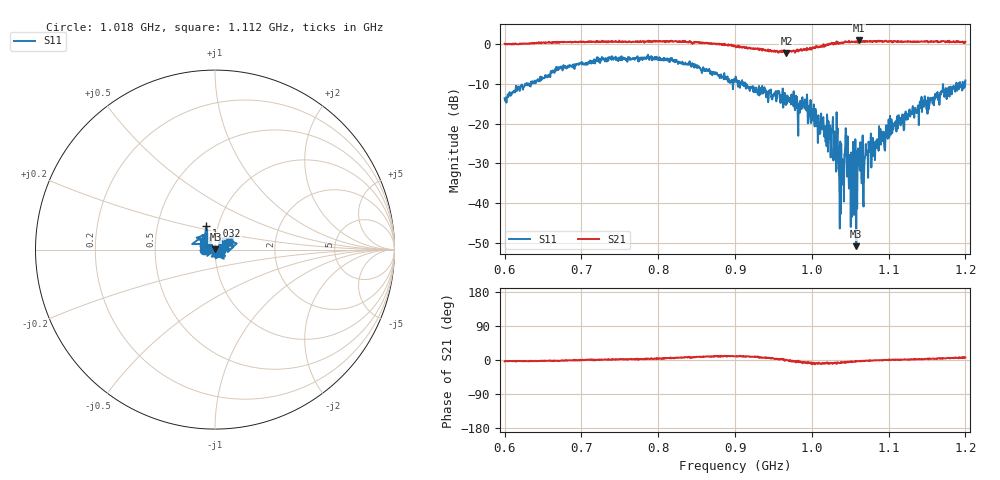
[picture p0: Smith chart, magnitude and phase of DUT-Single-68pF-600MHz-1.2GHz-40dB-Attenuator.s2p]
# HZ S RI R 50
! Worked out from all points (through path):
!   1010 points, 600 MHz to 1.2 GHz, reference 50 ohm
!   highest |S21| = 0.96 dB at 1.061 GHz (marker M1); lowest = -2.2 dB at 966.9 MHz (marker M2)
!   lowest |S11| = -50.9 dB at 1.058 GHz (marker M3), VSWR 1.01, Z = 50.2 + j0.154 ohm
!   |S11| at or under -10 dB: start of sweep to 626.7 MHz; 913.5 MHz to 1.188 GHz (274.4 MHz wide, 26.1 % of centre); 1.193121 GHz to 1.196282 GHz (3.161 MHz wide, 0.265 % of centre)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
!   S12 and S22 are empty: the file has one direction only
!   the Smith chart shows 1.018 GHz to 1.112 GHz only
!   S11 on the Smith chart (normalised r, x): 1.018 GHz: 0.89, -0.00; 1.032 GHz: 0.88, +0.23; 1.112 GHz: 1.16, +0.10
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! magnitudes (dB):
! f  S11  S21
! 600 MHz  -13.6  0.1
! 700.5 MHz  -4.4  0.6
! 800.4 MHz  -4.0  0.7
! 900.3 MHz  -9.3  -0.3
! 966.9 MHz  -14.3  -2.2
! 1 GHz  -19.1  -1.0
! 1.018 GHz  -24.6  -0.4
! 1.025 GHz  -28.5  0.0
! 1.032 GHz  -17.1  0.7
! 1.033 GHz  -21.1  0.5
! 1.039 GHz  -31.2  0.5
! 1.041 GHz  -29.9  0.5
! 1.045 GHz  -29.3  0.6
! 1.053 GHz  -33.6  0.6
! 1.058 GHz  -50.9  0.8
! 1.061 GHz  -26.4  1.0
! 1.063 GHz  -24.7  0.8
! 1.067 GHz  -39.0  0.8
! 1.073 GHz  -26.8  0.7
! 1.1 GHz  -18.9  0.8
! 1.112 GHz  -21.2  0.6
! 1.2 GHz  -9.1  0.6
